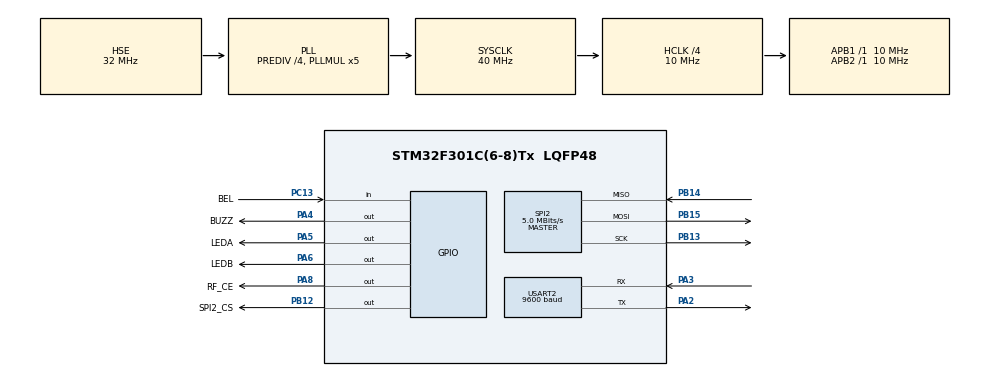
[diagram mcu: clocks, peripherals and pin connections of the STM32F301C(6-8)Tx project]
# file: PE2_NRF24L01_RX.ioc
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Mcu.Family=STM32F3
Mcu.Name=STM32F301C(6-8)Tx
Mcu.Package=LQFP48
NVIC.PriorityGroup=NVIC_PRIORITYGROUP_4
PA2.Mode=Asynchronous
PA2.Signal=USART2_TX
PA3.Mode=Asynchronous
PA3.Signal=USART2_RX
PA4.GPIO_Label=BUZZ
PA4.Signal=GPIO_Output
PA5.GPIO_Label=LEDA
PA5.Signal=GPIO_Output
PA6.GPIO_Label=LEDB
PA6.Signal=GPIO_Output
PA8.GPIO_Label=RF_CE
PA8.Signal=GPIO_Output
PB12.GPIO_Label=SPI2_CS
PB12.Signal=GPIO_Output
PB13.Mode=Full_Duplex_Master
PB13.Signal=SPI2_SCK
PB14.Mode=Full_Duplex_Master
PB14.Signal=SPI2_MISO
PB15.Mode=Full_Duplex_Master
PB15.Signal=SPI2_MOSI
PC13.GPIO_Label=BEL
PC13.Signal=GPIO_Input
PF0-OSC_IN.Mode=HSE-External-Oscillator
PF0-OSC_IN.Signal=RCC_OSC_IN
PF1-OSC_OUT.Mode=HSE-External-Oscillator
PF1-OSC_OUT.Signal=RCC_OSC_OUT
ProjectManager.HeapSize=0x200
ProjectManager.StackSize=0x400
ProjectManager.TargetToolchain=STM32CubeIDE
RCC.AHBCLKDivider=RCC_SYSCLK_DIV4
RCC.AHBFreq_Value=10000000
RCC.APB1Freq_Value=10000000
RCC.APB1TimFreq_Value=10000000
RCC.APB2Freq_Value=10000000
RCC.APB2TimFreq_Value=10000000
RCC.CortexFreq_Value=10000000
RCC.HCLKFreq_Value=10000000
RCC.HSE_VALUE=32000000
RCC.HSI_VALUE=8000000
RCC.LSE_VALUE=32768
RCC.LSIState-ClockTree=RCC_LSI_ON
RCC.PLLMUL=RCC_PLL_MUL5
RCC.PLLSourceVirtual=RCC_PLLSOURCE_HSE
RCC.RCC_PLLsource_Clock_Source_FROM_HSE=RCC_HSE_PREDIV_DIV4
RCC.SYSCLKFreq_VALUE=40000000
RCC.SYSCLKSourceVirtual=RCC_SYSCLKSOURCE_PLLCLK
SPI2.BaudRatePrescaler=SPI_BAUDRATEPRESCALER_2
SPI2.CalculateBaudRate=5.0 MBits/s
SPI2.DataSize=SPI_DATASIZE_8BIT
SPI2.Direction=SPI_DIRECTION_2LINES
SPI2.Mode=SPI_MODE_MASTER
SPI2.VirtualType=VM_MASTER
USART2.BaudRate=9600
USART2.SwapParam=ADVFEATURE_SWAP_ENABLE
USART2.VirtualMode-Asynchronous=VM_ASYNC
board=custom

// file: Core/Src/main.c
/* USER CODE BEGIN Header */
/**
  ******************************************************************************
  * @file           : main.c
  * @brief          : Main program body
  ******************************************************************************
  * @attention
  *
  * <h2><center>&copy; Copyright (c) 2023 STMicroelectronics.
  * All rights reserved.</center></h2>
  *
  * This software component is licensed by ST under BSD 3-Clause license,
  * the "License"; You may not use this file except in compliance with the
  * License. You may obtain a copy of the License at:
  *                        opensource.org/licenses/BSD-3-Clause
  *
  ******************************************************************************
  */
/* USER CODE END Header */
#include "main.h"

/* USER CODE BEGIN Includes */
#include "NRF24L01.h"
/* USER CODE END Includes */

SPI_HandleTypeDef hspi2;

UART_HandleTypeDef huart2;

void SystemClock_Config(void);
static void MX_GPIO_Init(void);
static void MX_SPI2_Init(void);
static void MX_USART2_UART_Init(void);

/* USER CODE BEGIN 0 */
uint8_t RxAddress[] = {0xEE,0xDD,0xCC,0xBB,0xAA};
uint8_t RxData[32];

uint8_t data[50];

#include <stdio.h>
#include <errno.h>
#include <sys/stat.h>
#include <sys/times.h>
#include <sys/unistd.h>
int _write(int file, char *ptr, int len) {
    HAL_StatusTypeDef xStatus;
    switch (file) {
    case STDOUT_FILENO: /*stdout*/
		xStatus = HAL_UART_Transmit(&huart2, (uint8_t*)ptr, len, HAL_MAX_DELAY);
		if (xStatus != HAL_OK) {
			errno = EIO;
			return -1;
		}
        break;
    case STDERR_FILENO: /*stderr*/
		xStatus = HAL_UART_Transmit(&huart2, (uint8_t*)ptr, len, HAL_MAX_DELAY);
		if (xStatus != HAL_OK) {
			errno = EIO;
			return -1;
		}
        break;
    default:
        errno = EBADF;
        return -1;
    }
    return len;
}

//instructies tellen
//Delay is 1 cycle  * 1/CLOCK * Count voor M7
void __attribute__((naked)) SysTickDelayCount(unsigned long ulCount)
{
    __asm("    subs    r0, #1\n"
          "    bne.n     SysTickDelayCount\n"
          "    bx      lr");
}
/* USER CODE END 0 */

int main(void)
{

  /* MCU Configuration--------------------------------------------------------*/

  /* Reset of all peripherals, Initializes the Flash interface and the Systick. */
  HAL_Init();

  /* Configure the system clock */
  SystemClock_Config();

  /* Initialize all configured peripherals */
  MX_GPIO_Init();
  MX_SPI2_Init();
  MX_USART2_UART_Init();
  /* USER CODE BEGIN 2 */
  NRF24_Init();

  NRF24_RxMode(RxAddress, 10);

  NRF24_ReadAll(data);
  /* USER CODE END 2 */

  /* Infinite loop */
  while (1)
  {
	  if(isDataAvailable(2) == 1)
	  {
		  HAL_GPIO_WritePin(LEDA_GPIO_Port, LEDA_Pin, 1);
		  HAL_GPIO_WritePin(LEDB_GPIO_Port, LEDB_Pin, 1);

		  NRF24_Receive(RxData);
		  HAL_UART_Transmit(&huart2, RxData, strlen((char *)RxData), 1000);
		  printf("Er is iemand aan de deur\r\n");

		  while(HAL_GPIO_ReadPin(BEL_GPIO_Port, BEL_Pin) == 1)
		  {
  			  //1khz tone
  			  HAL_GPIO_WritePin(BUZZ_GPIO_Port, BUZZ_Pin, 1);
  			  SysTickDelayCount(1250);

  		  	  HAL_GPIO_WritePin(BUZZ_GPIO_Port, BUZZ_Pin, 0);
  			  SysTickDelayCount(1250);
  		  }

		  HAL_GPIO_WritePin(LEDA_GPIO_Port, LEDA_Pin, 0);
		  HAL_GPIO_WritePin(LEDB_GPIO_Port, LEDB_Pin, 0);

	  }
  }
}

void SystemClock_Config(void)
{
  RCC_OscInitTypeDef RCC_OscInitStruct = {0};
  RCC_ClkInitTypeDef RCC_ClkInitStruct = {0};

  /** Initializes the RCC Oscillators according to the specified parameters
  * in the RCC_OscInitTypeDef structure.
  */
  RCC_OscInitStruct.OscillatorType = RCC_OSCILLATORTYPE_HSE;
  RCC_OscInitStruct.HSEState = RCC_HSE_ON;
  RCC_OscInitStruct.HSEPredivValue = RCC_HSE_PREDIV_DIV4;
  RCC_OscInitStruct.HSIState = RCC_HSI_ON;
  RCC_OscInitStruct.PLL.PLLState = RCC_PLL_ON;
  RCC_OscInitStruct.PLL.PLLSource = RCC_PLLSOURCE_HSE;
  RCC_OscInitStruct.PLL.PLLMUL = RCC_PLL_MUL5;
  if (HAL_RCC_OscConfig(&RCC_OscInitStruct) != HAL_OK)
  {
    Error_Handler();
  }
  /** Initializes the CPU, AHB and APB buses clocks
  */
  RCC_ClkInitStruct.ClockType = RCC_CLOCKTYPE_HCLK|RCC_CLOCKTYPE_SYSCLK
                              |RCC_CLOCKTYPE_PCLK1|RCC_CLOCKTYPE_PCLK2;
  RCC_ClkInitStruct.SYSCLKSource = RCC_SYSCLKSOURCE_PLLCLK;
  RCC_ClkInitStruct.AHBCLKDivider = RCC_SYSCLK_DIV4;
  RCC_ClkInitStruct.APB1CLKDivider = RCC_HCLK_DIV1;
  RCC_ClkInitStruct.APB2CLKDivider = RCC_HCLK_DIV1;

  if (HAL_RCC_ClockConfig(&RCC_ClkInitStruct, FLASH_LATENCY_0) != HAL_OK)
  {
    Error_Handler();
  }
}

static void MX_SPI2_Init(void)
{

  /* SPI2 parameter configuration*/
  hspi2.Instance = SPI2;
  hspi2.Init.Mode = SPI_MODE_MASTER;
  hspi2.Init.Direction = SPI_DIRECTION_2LINES;
  hspi2.Init.DataSize = SPI_DATASIZE_8BIT;
  hspi2.Init.CLKPolarity = SPI_POLARITY_LOW;
  hspi2.Init.CLKPhase = SPI_PHASE_1EDGE;
  hspi2.Init.NSS = SPI_NSS_SOFT;
  hspi2.Init.BaudRatePrescaler = SPI_BAUDRATEPRESCALER_2;
  hspi2.Init.FirstBit = SPI_FIRSTBIT_MSB;
  hspi2.Init.TIMode = SPI_TIMODE_DISABLE;
  hspi2.Init.CRCCalculation = SPI_CRCCALCULATION_DISABLE;
  hspi2.Init.CRCPolynomial = 7;
  hspi2.Init.CRCLength = SPI_CRC_LENGTH_DATASIZE;
  hspi2.Init.NSSPMode = SPI_NSS_PULSE_ENABLE;
  if (HAL_SPI_Init(&hspi2) != HAL_OK)
  {
    Error_Handler();
  }

}

static void MX_USART2_UART_Init(void)
{

  huart2.Instance = USART2;
  huart2.Init.BaudRate = 9600;
  huart2.Init.WordLength = UART_WORDLENGTH_8B;
  huart2.Init.StopBits = UART_STOPBITS_1;
  huart2.Init.Parity = UART_PARITY_NONE;
  huart2.Init.Mode = UART_MODE_TX_RX;
  huart2.Init.HwFlowCtl = UART_HWCONTROL_NONE;
  huart2.Init.OverSampling = UART_OVERSAMPLING_16;
  huart2.Init.OneBitSampling = UART_ONE_BIT_SAMPLE_DISABLE;
  huart2.AdvancedInit.AdvFeatureInit = UART_ADVFEATURE_SWAP_INIT;
  huart2.AdvancedInit.Swap = UART_ADVFEATURE_SWAP_ENABLE;
  if (HAL_UART_Init(&huart2) != HAL_OK)
  {
    Error_Handler();
  }

}

static void MX_GPIO_Init(void)
{
  GPIO_InitTypeDef GPIO_InitStruct = {0};

  /* GPIO Ports Clock Enable */
  __HAL_RCC_GPIOC_CLK_ENABLE();
  __HAL_RCC_GPIOF_CLK_ENABLE();
  __HAL_RCC_GPIOA_CLK_ENABLE();
  __HAL_RCC_GPIOB_CLK_ENABLE();

  /*Configure GPIO pin Output Level */
  HAL_GPIO_WritePin(GPIOA, BUZZ_Pin|LEDA_Pin|LEDB_Pin|RF_CE_Pin, GPIO_PIN_RESET);

  /*Configure GPIO pin Output Level */
  HAL_GPIO_WritePin(SPI2_CS_GPIO_Port, SPI2_CS_Pin, GPIO_PIN_RESET);

  /*Configure GPIO pin : BEL_Pin */
  GPIO_InitStruct.Pin = BEL_Pin;
  GPIO_InitStruct.Mode = GPIO_MODE_INPUT;
  GPIO_InitStruct.Pull = GPIO_NOPULL;
  HAL_GPIO_Init(BEL_GPIO_Port, &GPIO_InitStruct);

  /*Configure GPIO pins : BUZZ_Pin LEDA_Pin LEDB_Pin RF_CE_Pin */
  GPIO_InitStruct.Pin = BUZZ_Pin|LEDA_Pin|LEDB_Pin|RF_CE_Pin;
  GPIO_InitStruct.Mode = GPIO_MODE_OUTPUT_PP;
  GPIO_InitStruct.Pull = GPIO_NOPULL;
  GPIO_InitStruct.Speed = GPIO_SPEED_FREQ_LOW;
  HAL_GPIO_Init(GPIOA, &GPIO_InitStruct);

  /*Configure GPIO pin : SPI2_CS_Pin */
  GPIO_InitStruct.Pin = SPI2_CS_Pin;
  GPIO_InitStruct.Mode = GPIO_MODE_OUTPUT_PP;
  GPIO_InitStruct.Pull = GPIO_NOPULL;
  GPIO_InitStruct.Speed = GPIO_SPEED_FREQ_LOW;
  HAL_GPIO_Init(SPI2_CS_GPIO_Port, &GPIO_InitStruct);

}

void Error_Handler(void)
{
  __disable_irq();
  while (1)
  {
  }
}

/************************ (C) COPYRIGHT STMicroelectronics *****END OF FILE****/
